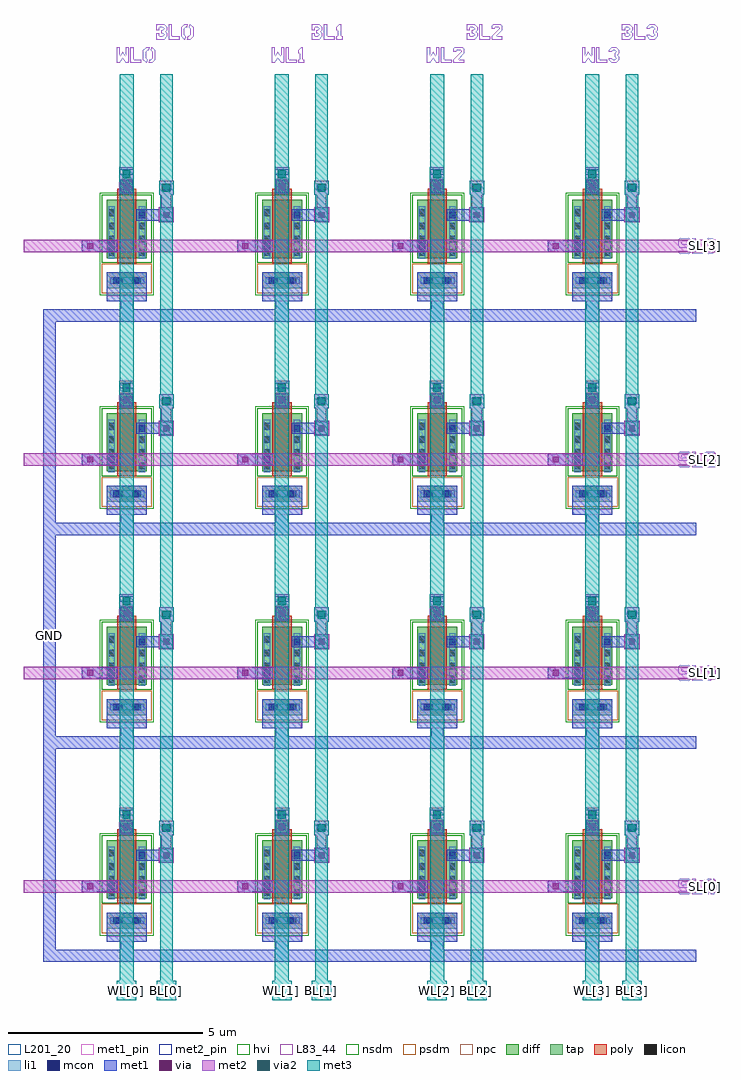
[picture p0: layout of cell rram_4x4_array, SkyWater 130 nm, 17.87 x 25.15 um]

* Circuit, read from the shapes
.subckt rram_4x4_array BL[0] BL[1] BL[2] BL[3] GND SL[0] SL[1] SL[2] SL[3] WL[0] WL[1] WL[2] WL[3]
XM1 BL[0] WL[0] SL[0] GND sky130_fd_pr__nfet_g5v0d10v5 w=1.5 l=0.5
XM2 BL[0] WL[0] SL[1] GND sky130_fd_pr__nfet_g5v0d10v5 w=1.5 l=0.5
XM3 BL[0] WL[0] SL[2] GND sky130_fd_pr__nfet_g5v0d10v5 w=1.5 l=0.5
XM4 BL[0] WL[0] SL[3] GND sky130_fd_pr__nfet_g5v0d10v5 w=1.5 l=0.5
XM5 BL[1] WL[1] SL[0] GND sky130_fd_pr__nfet_g5v0d10v5 w=1.5 l=0.5
XM6 BL[1] WL[1] SL[1] GND sky130_fd_pr__nfet_g5v0d10v5 w=1.5 l=0.5
XM7 BL[1] WL[1] SL[2] GND sky130_fd_pr__nfet_g5v0d10v5 w=1.5 l=0.5
XM8 BL[1] WL[1] SL[3] GND sky130_fd_pr__nfet_g5v0d10v5 w=1.5 l=0.5
XM9 BL[2] WL[2] SL[0] GND sky130_fd_pr__nfet_g5v0d10v5 w=1.5 l=0.5
XM10 BL[2] WL[2] SL[1] GND sky130_fd_pr__nfet_g5v0d10v5 w=1.5 l=0.5
XM11 BL[2] WL[2] SL[2] GND sky130_fd_pr__nfet_g5v0d10v5 w=1.5 l=0.5
XM12 BL[2] WL[2] SL[3] GND sky130_fd_pr__nfet_g5v0d10v5 w=1.5 l=0.5
XM13 BL[3] WL[3] SL[0] GND sky130_fd_pr__nfet_g5v0d10v5 w=1.5 l=0.5
XM14 BL[3] WL[3] SL[1] GND sky130_fd_pr__nfet_g5v0d10v5 w=1.5 l=0.5
XM15 BL[3] WL[3] SL[2] GND sky130_fd_pr__nfet_g5v0d10v5 w=1.5 l=0.5
XM16 BL[3] WL[3] SL[3] GND sky130_fd_pr__nfet_g5v0d10v5 w=1.5 l=0.5
.ends

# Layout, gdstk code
from math import pi, radians
import gdstk
lib = gdstk.Library(unit=1e-6, precision=1e-09)
def R(c, l, rs):  # rectangles x0, y0, x1, y1
    for r in rs: c.add(gdstk.rectangle(r[:2], r[2:], *l))
def A(c, l, x, y, w, h, nx, ny, dx, dy):  # array of equal rectangles
    R(c, l, [(x+i*dx, y+j*dy, x+i*dx+w, y+j*dy+h) for i in range(nx) for j in range(ny)])
def P(c, l, *ps):  # polygons
    for p in ps: c.add(gdstk.Polygon(p, *l))
diff = (65, 20)
tap = (65, 44)
poly = (66, 20)
licon = (66, 44)
li1 = (67, 20)
mcon = (67, 44)
met1_pin = (68, 16)
met1 = (68, 20)
via = (68, 44)
met2_pin = (69, 16)
met2 = (69, 20)
via2 = (69, 44)
met3 = (70, 20)
hvi = (75, 20)
L83_44 = (83, 44)
nsdm = (93, 44)
psdm = (94, 20)
npc = (95, 20)
L201_20 = (201, 20)

m1m2_c_cdns_630369580172 = lib.new_cell('M1M2_C_CDNS_6303695801725')
R(m1m2_c_cdns_630369580172, met1, [(-0.16,-0.16,0.16,0.16)])
R(m1m2_c_cdns_630369580172, via, [(-0.075,-0.075,0.075,0.075)])
R(m1m2_c_cdns_630369580172, met2, [(-0.16,-0.16,0.16,0.16)])

dfl1sd_cdns_630369580179 = lib.new_cell('DFL1sd_CDNS_630369580179')
R(dfl1sd_cdns_630369580179, diff, [(0,0,0.265,1.5)])
A(dfl1sd_cdns_630369580179, licon, 0.055, 0.06, 0.17, 0.17, 1, 4, 0, 0.34)
R(dfl1sd_cdns_630369580179, li1, [(0.055,-0.02,0.225,1.33)])
R(dfl1sd_cdns_630369580179, nsdm, [(-0.125,-0.125,0.39,1.625)])

nfet_symbolic_cdns_63036 = lib.new_cell('nfet_symbolic_CDNS_630369580178')
R(nfet_symbolic_cdns_63036, diff, [(-0.25,0,0,1.5), (0,0,0.5,1.5), (0.5,0,0.75,1.5)])
R(nfet_symbolic_cdns_63036, poly, [(0,-0.13,0.5,1.63), (0,-0.13,0.5,0), (0,1.5,0.5,1.63)])
R(nfet_symbolic_cdns_63036, li1, [(-0.225,-0.02,-0.055,1.33), (0.555,-0.02,0.725,1.33)])
R(nfet_symbolic_cdns_63036, nsdm, [(-0.25,-0.125,0.75,1.625)])
nfet_symbolic_cdns_63036.add(gdstk.Reference(dfl1sd_cdns_630369580179, (0.5,0)))
nfet_symbolic_cdns_63036.add(gdstk.Reference(dfl1sd_cdns_630369580179, (0,0), rotation=pi, x_reflection=True))
nfet_symbolic_cdns_63036.add(gdstk.Label('D', (0.64,0.655), layer=83, texttype=44))
nfet_symbolic_cdns_63036.add(gdstk.Label('S', (-0.14,0.655), layer=83, texttype=44))

nfet_cdns_630369580177 = lib.new_cell('nfet_CDNS_630369580177')
R(nfet_cdns_630369580177, hvi, [(-0.445,-0.18,0.945,1.68)])
nfet_cdns_630369580177.add(gdstk.Reference(nfet_symbolic_cdns_63036, (0,0)))

l1m1_c_cdns_630369580173 = lib.new_cell('L1M1_C_CDNS_6303695801734')
R(l1m1_c_cdns_630369580173, li1, [(-0.085,-0.085,0.085,0.085)])
R(l1m1_c_cdns_630369580173, mcon, [(-0.085,-0.085,0.085,0.085)])
R(l1m1_c_cdns_630369580173, met1, [(-0.145,-0.145,0.145,0.145)])

pyl1_c_cdns_630369580173 = lib.new_cell('PYL1_C_CDNS_6303695801737')
R(pyl1_c_cdns_630369580173, poly, [(-0.165,-0.165,0.165,0.165)])
R(pyl1_c_cdns_630369580173, licon, [(-0.085,-0.085,0.085,0.085)])
R(pyl1_c_cdns_630369580173, li1, [(-0.165,-0.165,0.165,0.165)])
R(pyl1_c_cdns_630369580173, npc, [(-0.185,-0.185,0.185,0.185)])

l1m1_c_cdns_630369580172 = lib.new_cell('L1M1_C_CDNS_6303695801729')
R(l1m1_c_cdns_630369580172, li1, [(-0.085,-0.085,0.085,0.085)])
R(l1m1_c_cdns_630369580172, mcon, [(-0.085,-0.085,0.085,0.085)])
R(l1m1_c_cdns_630369580172, met1, [(-0.16,-0.16,0.16,0.16)])

sky130_fd_pr_reram__rera = lib.new_cell('sky130_fd_pr_reram__reram_cell')
R(sky130_fd_pr_reram__rera, met1_pin, [(-0.195,-0.195,0.195,0.195)])
R(sky130_fd_pr_reram__rera, met1, [(-0.195,-0.195,0.195,0.195)])
R(sky130_fd_pr_reram__rera, via, [(-0.075,-0.075,0.075,0.075)])
R(sky130_fd_pr_reram__rera, met2_pin, [(-0.195,-0.195,0.195,0.195)])
R(sky130_fd_pr_reram__rera, met2, [(-0.195,-0.195,0.195,0.195)])
R(sky130_fd_pr_reram__rera, L201_20, [(-0.16,-0.16,0.16,0.16)])
sky130_fd_pr_reram__rera.add(gdstk.Label('TE', (0,0), layer=69, texttype=5))
sky130_fd_pr_reram__rera.add(gdstk.Label('BE', (0,0), layer=68, texttype=5))

rram_1t1r_new = lib.new_cell('RRAM_1T1R_new')
R(rram_1t1r_new, tap, [(0.18,-0.6,1.21,-0.19)])
R(rram_1t1r_new, poly, [(0.445,1.81,0.945,1.96)])
R(rram_1t1r_new, licon, [(0.415,-0.48,0.585,-0.31), (0.89,-0.48,1.06,-0.31)])
R(rram_1t1r_new, li1, [(0.27,-0.48,1.15,-0.31)])
R(rram_1t1r_new, mcon, [(0.35,-0.48,0.52,-0.31), (0.83,-0.48,1,-0.31)])
R(rram_1t1r_new, met1_pin, [(0.185,-0.935,1.195,-0.795), (-0.45,0.35,-0.265,0.625)])
R(rram_1t1r_new, met1, [(0.18,-0.94,1.21,-0.19), (-0.46,0.345,0.45,0.635), (0.94,1.145,1.575,1.435)])
R(rram_1t1r_new, met2_pin, [(1.59,1.93,1.835,2.085), (0.51,2.325,0.87,2.465)])
R(rram_1t1r_new, met2, [(1.585,1.445,1.84,2.09), (0.505,1.82,0.875,2.47)])
R(rram_1t1r_new, hvi, [(0,-0.78,1.39,0)])
R(rram_1t1r_new, psdm, [(0.055,-0.725,1.34,0.035)])
rram_1t1r_new.add(gdstk.Reference(m1m2_c_cdns_630369580172, (0.69,2.02)))
rram_1t1r_new.add(gdstk.Reference(nfet_cdns_630369580177, (0.445,0.18)))
rram_1t1r_new.add(gdstk.Reference(l1m1_c_cdns_630369580173, (0.305,0.49)))
rram_1t1r_new.add(gdstk.Reference(l1m1_c_cdns_630369580173, (1.085,1.29)))
rram_1t1r_new.add(gdstk.Reference(pyl1_c_cdns_630369580173, (0.69,2.02)))
rram_1t1r_new.add(gdstk.Reference(l1m1_c_cdns_630369580172, (0.69,2.02)))
rram_1t1r_new.add(gdstk.Reference(sky130_fd_pr_reram__rera, (1.715,1.29)))
rram_1t1r_new.add(gdstk.Label('VWL', (0.69,2.39), layer=69, texttype=16))
rram_1t1r_new.add(gdstk.Label('VBL', (1.71,2.01), layer=69, texttype=16))
rram_1t1r_new.add(gdstk.Label('GND', (0.705,-0.87), layer=68, texttype=16))
rram_1t1r_new.add(gdstk.Label('VS', (-0.35,0.495), layer=68, texttype=16))

via_m2_m3 = lib.new_cell('via_m2_m3')
R(via_m2_m3, met2, [(-0.185,-0.185,0.185,0.185)])
R(via_m2_m3, via2, [(-0.1,-0.1,0.1,0.1)])
R(via_m2_m3, met3, [(-0.185,-0.185,0.185,0.185)])

via_m1_m2 = lib.new_cell('via_m1_m2')
R(via_m1_m2, met1, [(-0.16,-0.16,0.16,0.16)])
R(via_m1_m2, via, [(-0.075,-0.075,0.075,0.075)])
R(via_m1_m2, met2, [(-0.16,-0.16,0.16,0.16)])

text_gdsfactorypcomponen = lib.new_cell('text_gdsfactorypcomponentsptextsptext_TWL0_S0p4_P0_0_Jl_48763778')
P(text_gdsfactorypcomponen, L83_44, [(0.04,0),(0.04,0.4),(0.12,0.4),(0.12,0.16),(0.2,0.28),(0.28,0.16),(0.28,0.4),(0.36,0.4),(0.36,0),(0.28,0),(0.2,0.12),(0.12,0)],
  [(0.4,0),(0.4,0.4),(0.48,0.4),(0.48,0.08),(0.68,0.08),(0.68,0)],
  [(0.8,0),(0.72,0.08),(0.72,0.32),(0.8,0.4),(0.892,0.4),(0.872,0.32),(0.84,0.32),(0.8,0.28),(0.8,0.12),(0.84,0.08),(0.82,0)],
  [(0.868,0),(0.888,0.08),(0.92,0.08),(0.96,0.12),(0.96,0.28),(0.92,0.32),(0.94,0.4),(0.96,0.4),(1.04,0.32),(1.04,0.08),(0.96,0)])

c_text_gdsfactorypcomponen = lib.new_cell('text_gdsfactorypcomponentsptextsptext_TWL1_S0p4_P0_0_Jl_dfcae168')
P(c_text_gdsfactorypcomponen, L83_44, [(0.04,0),(0.04,0.4),(0.12,0.4),(0.12,0.16),(0.2,0.28),(0.28,0.16),(0.28,0.4),(0.36,0.4),(0.36,0),(0.28,0),(0.2,0.12),(0.12,0)],
  [(0.4,0),(0.4,0.4),(0.48,0.4),(0.48,0.08),(0.68,0.08),(0.68,0)],
  [(0.72,0),(0.72,0.08),(0.76,0.08),(0.76,0.24),(0.72,0.24),(0.72,0.32),(0.8,0.4),(0.84,0.4),(0.84,0.08),(0.88,0.08),(0.88,0)])

c_text_gdsfactorypcomponen_ = lib.new_cell('text_gdsfactorypcomponentsptextsptext_TWL2_S0p4_P0_0_Jl_bc1f6423')
P(c_text_gdsfactorypcomponen_, L83_44, [(0.04,0),(0.04,0.4),(0.12,0.4),(0.12,0.16),(0.2,0.28),(0.28,0.16),(0.28,0.4),(0.36,0.4),(0.36,0),(0.28,0),(0.2,0.12),(0.12,0)],
  [(0.4,0),(0.4,0.4),(0.48,0.4),(0.48,0.08),(0.68,0.08),(0.68,0)],
  [(0.72,0),(0.72,0.08),(0.92,0.28),(0.92,0.32),(0.8,0.32),(0.8,0.28),(0.72,0.28),(0.72,0.36),(0.76,0.4),(0.96,0.4),(1,0.36),(1,0.24),(0.84,0.08),(1,0.08),(1,0)])

c_text_gdsfactorypcomponen__ = lib.new_cell('text_gdsfactorypcomponentsptextsptext_TWL3_S0p4_P0_0_Jl_83d8f4f6')
P(c_text_gdsfactorypcomponen__, L83_44, [(0.04,0),(0.04,0.4),(0.12,0.4),(0.12,0.16),(0.2,0.28),(0.28,0.16),(0.28,0.4),(0.36,0.4),(0.36,0),(0.28,0),(0.2,0.12),(0.12,0)],
  [(0.4,0),(0.4,0.4),(0.48,0.4),(0.48,0.08),(0.68,0.08),(0.68,0)],
  [(0.8,0),(0.72,0.08),(0.72,0.12),(0.8,0.12),(0.84,0.08),(0.88,0.08),(0.92,0.12),(0.88,0.16),(0.88,0.24),(0.92,0.28),(0.88,0.32),(0.84,0.32),(0.8,0.28),(0.72,0.28),(0.72,0.32),(0.8,0.4),(0.92,0.4),(1,0.32),(1,0.24),(0.96,0.2),(1,0.16),(1,0.08),(0.92,0)])

c_text_gdsfactorypcomponen___ = lib.new_cell('text_gdsfactorypcomponentsptextsptext_TBL0_S0p4_P0_0_Jl_7cfb7175')
P(c_text_gdsfactorypcomponen___, L83_44, [(0.04,0),(0.04,0.16),(0.12,0.16),(0.12,0.08),(0.2,0.08),(0.24,0.12),(0.2,0.16),(0.168,0.16),(0.168,0.24),(0.2,0.24),(0.24,0.28),(0.2,0.32),(0.12,0.32),(0.12,0.24),(0.04,0.24),(0.04,0.4),(0.24,0.4),(0.32,0.32),(0.32,0.24),(0.28,0.2),(0.32,0.16),(0.32,0.08),(0.24,0)],
  [(0.36,0),(0.36,0.4),(0.44,0.4),(0.44,0.08),(0.64,0.08),(0.64,0)],
  [(0.76,0),(0.68,0.08),(0.68,0.32),(0.76,0.4),(0.852,0.4),(0.832,0.32),(0.8,0.32),(0.76,0.28),(0.76,0.12),(0.8,0.08),(0.78,0)],
  [(0.828,0),(0.848,0.08),(0.88,0.08),(0.92,0.12),(0.92,0.28),(0.88,0.32),(0.9,0.4),(0.92,0.4),(1,0.32),(1,0.08),(0.92,0)])

c_text_gdsfactorypcomponen____ = lib.new_cell('text_gdsfactorypcomponentsptextsptext_TBL1_S0p4_P0_0_Jl_855cb253')
P(c_text_gdsfactorypcomponen____, L83_44, [(0.04,0),(0.04,0.16),(0.12,0.16),(0.12,0.08),(0.2,0.08),(0.24,0.12),(0.2,0.16),(0.168,0.16),(0.168,0.24),(0.2,0.24),(0.24,0.28),(0.2,0.32),(0.12,0.32),(0.12,0.24),(0.04,0.24),(0.04,0.4),(0.24,0.4),(0.32,0.32),(0.32,0.24),(0.28,0.2),(0.32,0.16),(0.32,0.08),(0.24,0)],
  [(0.36,0),(0.36,0.4),(0.44,0.4),(0.44,0.08),(0.64,0.08),(0.64,0)],
  [(0.68,0),(0.68,0.08),(0.72,0.08),(0.72,0.24),(0.68,0.24),(0.68,0.32),(0.76,0.4),(0.8,0.4),(0.8,0.08),(0.84,0.08),(0.84,0)])

c_text_gdsfactorypcomponen_____ = lib.new_cell('text_gdsfactorypcomponentsptextsptext_TBL2_S0p4_P0_0_Jl_698e9a9f')
P(c_text_gdsfactorypcomponen_____, L83_44, [(0.04,0),(0.04,0.16),(0.12,0.16),(0.12,0.08),(0.2,0.08),(0.24,0.12),(0.2,0.16),(0.168,0.16),(0.168,0.24),(0.2,0.24),(0.24,0.28),(0.2,0.32),(0.12,0.32),(0.12,0.24),(0.04,0.24),(0.04,0.4),(0.24,0.4),(0.32,0.32),(0.32,0.24),(0.28,0.2),(0.32,0.16),(0.32,0.08),(0.24,0)],
  [(0.36,0),(0.36,0.4),(0.44,0.4),(0.44,0.08),(0.64,0.08),(0.64,0)],
  [(0.68,0),(0.68,0.08),(0.88,0.28),(0.88,0.32),(0.76,0.32),(0.76,0.28),(0.68,0.28),(0.68,0.36),(0.72,0.4),(0.92,0.4),(0.96,0.36),(0.96,0.24),(0.8,0.08),(0.96,0.08),(0.96,0)])

c_text_gdsfactorypcomponen______ = lib.new_cell('text_gdsfactorypcomponentsptextsptext_TBL3_S0p4_P0_0_Jl_98192a02')
P(c_text_gdsfactorypcomponen______, L83_44, [(0.04,0),(0.04,0.16),(0.12,0.16),(0.12,0.08),(0.2,0.08),(0.24,0.12),(0.2,0.16),(0.168,0.16),(0.168,0.24),(0.2,0.24),(0.24,0.28),(0.2,0.32),(0.12,0.32),(0.12,0.24),(0.04,0.24),(0.04,0.4),(0.24,0.4),(0.32,0.32),(0.32,0.24),(0.28,0.2),(0.32,0.16),(0.32,0.08),(0.24,0)],
  [(0.36,0),(0.36,0.4),(0.44,0.4),(0.44,0.08),(0.64,0.08),(0.64,0)],
  [(0.76,0),(0.68,0.08),(0.68,0.12),(0.76,0.12),(0.8,0.08),(0.84,0.08),(0.88,0.12),(0.84,0.16),(0.84,0.24),(0.88,0.28),(0.84,0.32),(0.8,0.32),(0.76,0.28),(0.68,0.28),(0.68,0.32),(0.76,0.4),(0.88,0.4),(0.96,0.32),(0.96,0.24),(0.92,0.2),(0.96,0.16),(0.96,0.08),(0.88,0)])

c_text_gdsfactorypcomponen_______ = lib.new_cell('text_gdsfactorypcomponentsptextsptext_TSL0_S0p4_P0_0_Jl_2b7cb08e')
P(c_text_gdsfactorypcomponen_______, L83_44, [(0.08,0),(0.04,0.04),(0.04,0.08),(0.28,0.08),(0.28,0.16),(0.08,0.16),(0.04,0.2),(0.04,0.36),(0.08,0.4),(0.32,0.4),(0.36,0.36),(0.36,0.32),(0.12,0.32),(0.12,0.24),(0.32,0.24),(0.36,0.2),(0.36,0.04),(0.32,0)],
  [(0.4,0),(0.4,0.4),(0.48,0.4),(0.48,0.08),(0.68,0.08),(0.68,0)],
  [(0.8,0),(0.72,0.08),(0.72,0.32),(0.8,0.4),(0.892,0.4),(0.872,0.32),(0.84,0.32),(0.8,0.28),(0.8,0.12),(0.84,0.08),(0.82,0)],
  [(0.868,0),(0.888,0.08),(0.92,0.08),(0.96,0.12),(0.96,0.28),(0.92,0.32),(0.94,0.4),(0.96,0.4),(1.04,0.32),(1.04,0.08),(0.96,0)])

c_text_gdsfactorypcomponen________ = lib.new_cell('text_gdsfactorypcomponentsptextsptext_TSL1_S0p4_P0_0_Jl_b5906cb0')
P(c_text_gdsfactorypcomponen________, L83_44, [(0.08,0),(0.04,0.04),(0.04,0.08),(0.28,0.08),(0.28,0.16),(0.08,0.16),(0.04,0.2),(0.04,0.36),(0.08,0.4),(0.32,0.4),(0.36,0.36),(0.36,0.32),(0.12,0.32),(0.12,0.24),(0.32,0.24),(0.36,0.2),(0.36,0.04),(0.32,0)],
  [(0.4,0),(0.4,0.4),(0.48,0.4),(0.48,0.08),(0.68,0.08),(0.68,0)],
  [(0.72,0),(0.72,0.08),(0.76,0.08),(0.76,0.24),(0.72,0.24),(0.72,0.32),(0.8,0.4),(0.84,0.4),(0.84,0.08),(0.88,0.08),(0.88,0)])

c_text_gdsfactorypcomponen_________ = lib.new_cell('text_gdsfactorypcomponentsptextsptext_TSL2_S0p4_P0_0_Jl_85efe05b')
P(c_text_gdsfactorypcomponen_________, L83_44, [(0.08,0),(0.04,0.04),(0.04,0.08),(0.28,0.08),(0.28,0.16),(0.08,0.16),(0.04,0.2),(0.04,0.36),(0.08,0.4),(0.32,0.4),(0.36,0.36),(0.36,0.32),(0.12,0.32),(0.12,0.24),(0.32,0.24),(0.36,0.2),(0.36,0.04),(0.32,0)],
  [(0.4,0),(0.4,0.4),(0.48,0.4),(0.48,0.08),(0.68,0.08),(0.68,0)],
  [(0.72,0),(0.72,0.08),(0.92,0.28),(0.92,0.32),(0.8,0.32),(0.8,0.28),(0.72,0.28),(0.72,0.36),(0.76,0.4),(0.96,0.4),(1,0.36),(1,0.24),(0.84,0.08),(1,0.08),(1,0)])

c_text_gdsfactorypcomponen__________ = lib.new_cell('text_gdsfactorypcomponentsptextsptext_TSL3_S0p4_P0_0_Jl_3a40f764')
P(c_text_gdsfactorypcomponen__________, L83_44, [(0.08,0),(0.04,0.04),(0.04,0.08),(0.28,0.08),(0.28,0.16),(0.08,0.16),(0.04,0.2),(0.04,0.36),(0.08,0.4),(0.32,0.4),(0.36,0.36),(0.36,0.32),(0.12,0.32),(0.12,0.24),(0.32,0.24),(0.36,0.2),(0.36,0.04),(0.32,0)],
  [(0.4,0),(0.4,0.4),(0.48,0.4),(0.48,0.08),(0.68,0.08),(0.68,0)],
  [(0.8,0),(0.72,0.08),(0.72,0.12),(0.8,0.12),(0.84,0.08),(0.88,0.08),(0.92,0.12),(0.88,0.16),(0.88,0.24),(0.92,0.28),(0.88,0.32),(0.84,0.32),(0.8,0.28),(0.72,0.28),(0.72,0.32),(0.8,0.4),(0.92,0.4),(1,0.32),(1,0.24),(0.96,0.2),(1,0.16),(1,0.08),(0.92,0)])

rram_4x4_array = lib.new_cell('rram_4x4_array')
A(rram_4x4_array, met1, 0.5, 0.98, 16.83, 0.32, 1, 4, 0, 5.5)
A(rram_4x4_array, met1, 2.495, 1.3, 0.32, 0.2, 4, 4, 4, 5.5)
R(rram_4x4_array, met1, [(0.5,0.98,0.82,17.8)])
A(rram_4x4_array, met2, 0, 2.77, 17.83, 0.32, 1, 4, 0, 5.5)
A(rram_4x4_array, met3, 2.47, 0, 0.36, 23.85, 4, 1, 4, 0)
A(rram_4x4_array, met3, 3.515, 0, 0.32, 23.85, 4, 1, 4, 0)
R(rram_4x4_array, met3, [(2.4,0,2.9,0.5), (3.425,0,3.925,0.5), (6.4,0,6.9,0.5), (7.425,0,7.925,0.5), (10.4,0,10.9,0.5), (11.425,0,11.925,0.5), (14.4,0,14.9,0.5), (15.425,0,15.925,0.5)])
rram_4x4_array.add(gdstk.Reference(rram_1t1r_new, (1.96,2.44)))
rram_4x4_array.add(gdstk.Reference(rram_1t1r_new, (5.96,2.44)))
rram_4x4_array.add(gdstk.Reference(rram_1t1r_new, (9.96,2.44)))
rram_4x4_array.add(gdstk.Reference(rram_1t1r_new, (13.96,2.44)))
rram_4x4_array.add(gdstk.Reference(rram_1t1r_new, (1.96,7.94)))
rram_4x4_array.add(gdstk.Reference(rram_1t1r_new, (5.96,7.94)))
rram_4x4_array.add(gdstk.Reference(rram_1t1r_new, (9.96,7.94)))
rram_4x4_array.add(gdstk.Reference(rram_1t1r_new, (13.96,7.94)))
rram_4x4_array.add(gdstk.Reference(rram_1t1r_new, (1.96,13.44)))
rram_4x4_array.add(gdstk.Reference(rram_1t1r_new, (5.96,13.44)))
rram_4x4_array.add(gdstk.Reference(rram_1t1r_new, (9.96,13.44)))
rram_4x4_array.add(gdstk.Reference(rram_1t1r_new, (13.96,13.44)))
rram_4x4_array.add(gdstk.Reference(rram_1t1r_new, (1.96,18.94)))
rram_4x4_array.add(gdstk.Reference(rram_1t1r_new, (5.96,18.94)))
rram_4x4_array.add(gdstk.Reference(rram_1t1r_new, (9.96,18.94)))
rram_4x4_array.add(gdstk.Reference(rram_1t1r_new, (13.96,18.94)))
rram_4x4_array.add(gdstk.Reference(via_m2_m3, (2.65,4.775)))
rram_4x4_array.add(gdstk.Reference(via_m2_m3, (2.65,10.275)))
rram_4x4_array.add(gdstk.Reference(via_m2_m3, (2.65,15.775)))
rram_4x4_array.add(gdstk.Reference(via_m2_m3, (2.65,21.275)))
rram_4x4_array.add(gdstk.Reference(via_m2_m3, (6.65,4.775)))
rram_4x4_array.add(gdstk.Reference(via_m2_m3, (6.65,10.275)))
rram_4x4_array.add(gdstk.Reference(via_m2_m3, (6.65,15.775)))
rram_4x4_array.add(gdstk.Reference(via_m2_m3, (6.65,21.275)))
rram_4x4_array.add(gdstk.Reference(via_m2_m3, (10.65,4.775)))
rram_4x4_array.add(gdstk.Reference(via_m2_m3, (10.65,10.275)))
rram_4x4_array.add(gdstk.Reference(via_m2_m3, (10.65,15.775)))
rram_4x4_array.add(gdstk.Reference(via_m2_m3, (10.65,21.275)))
rram_4x4_array.add(gdstk.Reference(via_m2_m3, (14.65,4.775)))
rram_4x4_array.add(gdstk.Reference(via_m2_m3, (14.65,10.275)))
rram_4x4_array.add(gdstk.Reference(via_m2_m3, (14.65,15.775)))
rram_4x4_array.add(gdstk.Reference(via_m2_m3, (14.65,21.275)))
rram_4x4_array.add(gdstk.Reference(via_m2_m3, (3.675,4.43)))
rram_4x4_array.add(gdstk.Reference(via_m2_m3, (3.675,9.93)))
rram_4x4_array.add(gdstk.Reference(via_m2_m3, (3.675,15.43)))
rram_4x4_array.add(gdstk.Reference(via_m2_m3, (3.675,20.93)))
rram_4x4_array.add(gdstk.Reference(via_m2_m3, (7.675,4.43)))
rram_4x4_array.add(gdstk.Reference(via_m2_m3, (7.675,9.93)))
rram_4x4_array.add(gdstk.Reference(via_m2_m3, (7.675,15.43)))
rram_4x4_array.add(gdstk.Reference(via_m2_m3, (7.675,20.93)))
rram_4x4_array.add(gdstk.Reference(via_m2_m3, (11.675,4.43)))
rram_4x4_array.add(gdstk.Reference(via_m2_m3, (11.675,9.93)))
rram_4x4_array.add(gdstk.Reference(via_m2_m3, (11.675,15.43)))
rram_4x4_array.add(gdstk.Reference(via_m2_m3, (11.675,20.93)))
rram_4x4_array.add(gdstk.Reference(via_m2_m3, (15.675,4.43)))
rram_4x4_array.add(gdstk.Reference(via_m2_m3, (15.675,9.93)))
rram_4x4_array.add(gdstk.Reference(via_m2_m3, (15.675,15.43)))
rram_4x4_array.add(gdstk.Reference(via_m2_m3, (15.675,20.93)))
rram_4x4_array.add(gdstk.Reference(via_m1_m2, (1.71,2.93)))
rram_4x4_array.add(gdstk.Reference(via_m1_m2, (5.71,2.93)))
rram_4x4_array.add(gdstk.Reference(via_m1_m2, (9.71,2.93)))
rram_4x4_array.add(gdstk.Reference(via_m1_m2, (13.71,2.93)))
rram_4x4_array.add(gdstk.Reference(via_m1_m2, (1.71,8.43)))
rram_4x4_array.add(gdstk.Reference(via_m1_m2, (5.71,8.43)))
rram_4x4_array.add(gdstk.Reference(via_m1_m2, (9.71,8.43)))
rram_4x4_array.add(gdstk.Reference(via_m1_m2, (13.71,8.43)))
rram_4x4_array.add(gdstk.Reference(via_m1_m2, (1.71,13.93)))
rram_4x4_array.add(gdstk.Reference(via_m1_m2, (5.71,13.93)))
rram_4x4_array.add(gdstk.Reference(via_m1_m2, (9.71,13.93)))
rram_4x4_array.add(gdstk.Reference(via_m1_m2, (13.71,13.93)))
rram_4x4_array.add(gdstk.Reference(via_m1_m2, (1.71,19.43)))
rram_4x4_array.add(gdstk.Reference(via_m1_m2, (5.71,19.43)))
rram_4x4_array.add(gdstk.Reference(via_m1_m2, (9.71,19.43)))
rram_4x4_array.add(gdstk.Reference(via_m1_m2, (13.71,19.43)))
rram_4x4_array.add(gdstk.Reference(text_gdsfactorypcomponen, (2.35,24.15)))
rram_4x4_array.add(gdstk.Reference(c_text_gdsfactorypcomponen, (6.35,24.15)))
rram_4x4_array.add(gdstk.Reference(c_text_gdsfactorypcomponen_, (10.35,24.15)))
rram_4x4_array.add(gdstk.Reference(c_text_gdsfactorypcomponen__, (14.35,24.15)))
rram_4x4_array.add(gdstk.Reference(c_text_gdsfactorypcomponen___, (3.375,24.75)))
rram_4x4_array.add(gdstk.Reference(c_text_gdsfactorypcomponen____, (7.375,24.75)))
rram_4x4_array.add(gdstk.Reference(c_text_gdsfactorypcomponen_____, (11.375,24.75)))
rram_4x4_array.add(gdstk.Reference(c_text_gdsfactorypcomponen______, (15.375,24.75)))
rram_4x4_array.add(gdstk.Reference(c_text_gdsfactorypcomponen_______, (16.83,2.73)))
rram_4x4_array.add(gdstk.Reference(c_text_gdsfactorypcomponen________, (16.83,8.23)))
rram_4x4_array.add(gdstk.Reference(c_text_gdsfactorypcomponen_________, (16.83,13.73)))
rram_4x4_array.add(gdstk.Reference(c_text_gdsfactorypcomponen__________, (16.83,19.23)))
rram_4x4_array.add(gdstk.Label('SL[0]', (17.58,2.93), layer=69, texttype=5))
rram_4x4_array.add(gdstk.Label('SL[1]', (17.58,8.43), layer=69, texttype=5))
rram_4x4_array.add(gdstk.Label('SL[2]', (17.58,13.93), layer=69, texttype=5))
rram_4x4_array.add(gdstk.Label('SL[3]', (17.58,19.43), layer=69, texttype=5))
rram_4x4_array.add(gdstk.Label('GND', (0.66,9.39), layer=68, texttype=5))
rram_4x4_array.add(gdstk.Label('WL[0]', (2.65,0.25), layer=70, texttype=5))
rram_4x4_array.add(gdstk.Label('WL[1]', (6.65,0.25), layer=70, texttype=5))
rram_4x4_array.add(gdstk.Label('WL[2]', (10.65,0.25), layer=70, texttype=5))
rram_4x4_array.add(gdstk.Label('WL[3]', (14.65,0.25), layer=70, texttype=5))
rram_4x4_array.add(gdstk.Label('BL[0]', (3.675,0.25), layer=70, texttype=5))
rram_4x4_array.add(gdstk.Label('BL[1]', (7.675,0.25), layer=70, texttype=5))
rram_4x4_array.add(gdstk.Label('BL[2]', (11.675,0.25), layer=70, texttype=5))
rram_4x4_array.add(gdstk.Label('BL[3]', (15.675,0.25), layer=70, texttype=5))

lib.write_gds('rram_4x4_array.gds')
